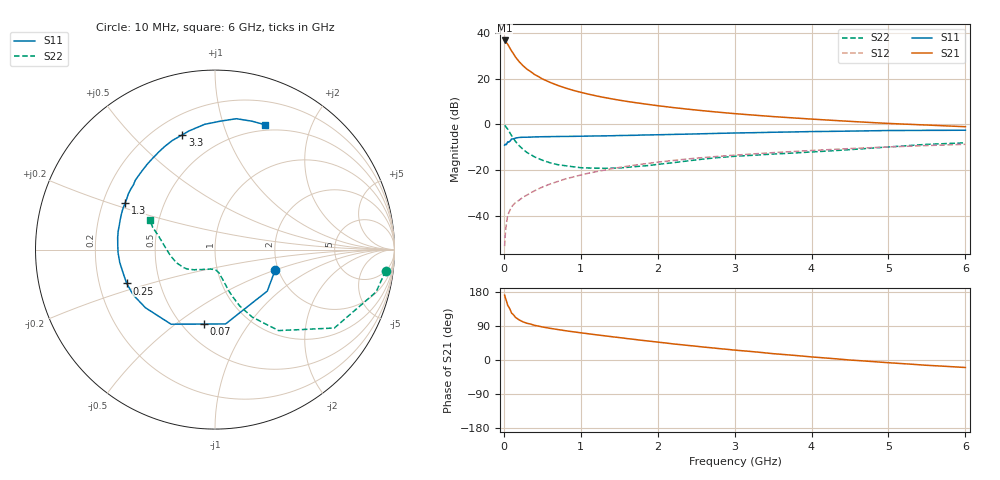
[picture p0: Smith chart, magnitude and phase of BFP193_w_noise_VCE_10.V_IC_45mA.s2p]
! (c) 2017  Infineon Technologies AG, Munich
! Infineon Technologies  Discrete & RF Semiconductors
! BFP193
! VCE =  10. V,  IC =  45 mA
! Common Emitter S-Parameters:  Jan 2017
# GHz  S  MA  R  50
!  f  S11  S21  S12  S22
! GHz  MAG  ANG  MAG  ANG  MAG  ANG  MAG  ANG
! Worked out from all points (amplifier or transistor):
!   77 points, 10 MHz to 6 GHz, reference 50 ohm
!   highest |S21| = 36.7 dB at 10 MHz (marker M1)
!   |S21| within 3 dB of that: start of sweep to 73.04 MHz
!   unconditionally stable (mu >= 1): 655.5 MHz to 2.431 GHz
!   at 130 MHz: K = 0.54, MSG = 32.7 dB, |S12| = -34.8 dB
!   at 2.2 GHz: K = 1.01, MAG = 10.9 dB, |S12| = -15.7 dB
!   at 6 GHz: K = 0.90, MSG = 3.8 dB, |S12| = -8.7 dB
!   lowest NFmin = 1.45 dB at 450 MHz
!   S11 on the Smith chart (normalised r, x): 10 MHz: 1.92, -0.51; 70 MHz: 0.63, -0.64; 250 MHz: 0.32, -0.17; 1.3 GHz: 0.29, +0.22; 3.3 GHz: 0.31, +0.71; 6 GHz: 0.44, +1.39
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0.01  0.3537 -19.1  68.42 171.2  0.0022 81.7  0.9579 -7.1
0.02  0.3719 -38.4  67.27 163.9  0.0042 86.8  0.9282 -14.7
0.05  0.4184 -81.9  56.58 144.3  0.0102 65.0  0.7957 -33.3
0.07  0.4195 -98.6  49.45 137.8  0.0124 62.0  0.6987 -39.3
0.1  0.4824 -120.5  40.48 124.0  0.0158 59.1  0.5735 -51.9
0.15  0.5052 -140.1  29.91 112.7  0.0196 57.3  0.4294 -61.1
0.2  0.5209 -151.0  23.45 105.7  0.0223 59.6  0.3436 -66.3
0.25  0.5268 -159.0  19.18 100.5  0.0259 59.1  0.2857 -69.1
0.3  0.5277 -164.6  16.15 97.0  0.0287 60.5  0.2448 -71.4
0.4  0.5355 -172.4  12.33 91.4  0.0357 63.7  0.1956 -73.9
0.5  0.5406 -178.3  9.917 87.2  0.0429 65.7  0.1658 -76.1
0.6  0.5427 176.7  8.324 83.6  0.05 65.9  0.146 -78.4
0.7  0.5465 172.9  7.148 80.5  0.0568 67.0  0.1325 -79.9
0.9  0.5504 165.5  5.574 74.5  0.0713 66.5  0.1194 -85.0
1.1  0.558 159.0  4.595 69.2  0.0863 65.4  0.1122 -90.6
1.3  0.5638 152.8  3.902 64.1  0.1004 63.7  0.1107 -97.3
2.1  0.6012 131.1  2.456 45.0  0.157 55.2  0.1401 -127.5
3.1  0.656 109.6  1.675 24.4  0.2194 43.3  0.2063 -152.8
3.3  0.6651 105.9  1.578 20.8  0.2309 41.0  0.2157 -157.0
4.1  0.7028 93.2  1.282 6.6  0.2757 31.8  0.2565 -175.0
5.1  0.7392 79.4  1.037 -8.5  0.3276 20.4  0.3318 165.1
6  0.7496 68.1  0.894 -19.8  0.3692 10.4  0.3975 155.7
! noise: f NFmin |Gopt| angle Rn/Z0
0.45  1.45  0.4  -171  0.08
0.9  1.49  0.43  -165  0.08
1.9  2.13  0.59  -134  0.21
2.4  2.45  0.63  -119  0.45
